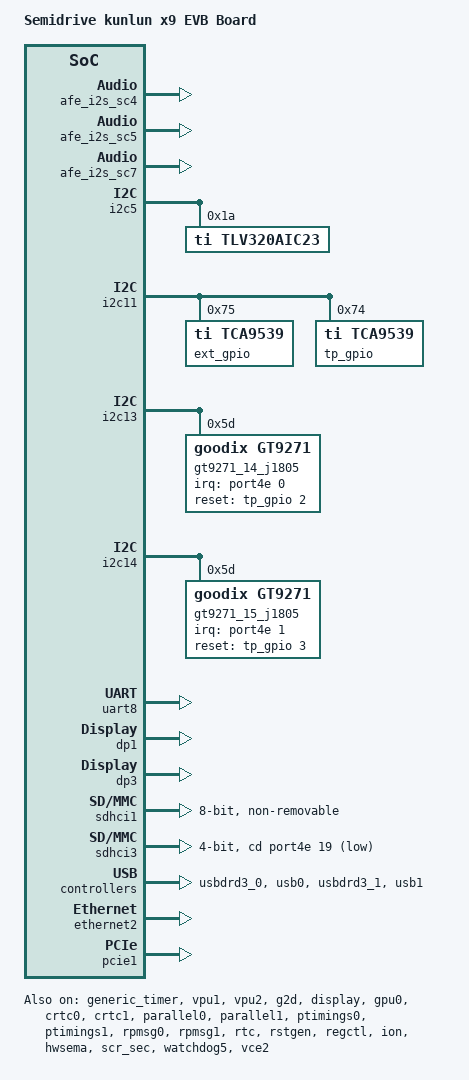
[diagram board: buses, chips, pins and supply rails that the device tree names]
/*
 * Semidrive kunlun platform DTS file
 *
 * Copyright (C) 2019, Semidrive  Communications Inc.
 *
 * This file is licensed under a dual GPLv2 or X11 license.
 */

/dts-v1/;

#include "../x9_high_ecockpit.dtsi"
#include "x9_high_evb_ivi-clk-ctrl.dtsi"
#include "../lcd-timings.dtsi"
#include <dt-bindings/pinctrl/pins-sdx9.h>
#include <dt-bindings/memmap/x9_high/projects/default/image_cfg.h>
#include <dt-bindings/memory/sdrv_ion.h>
#include <dt-bindings/rpmsg/sd,x9h-default.h>

/ {
	model = "Semidrive kunlun x9 EVB Board";

	compatible = "semidrive,kunlun";

	aliases {
		serial0 = &uart8;
		ethernet2 = &ethernet2;
	};

	memory@50000000 {
		device_type = "memory";
		reg = <HIGH32(AP1_KERNEL_MEMBASE-0x80000) LOW32(AP1_KERNEL_MEMBASE-0x80000) HIGH32(AP1_KERNEL_MEMSIZE) LOW32(AP1_KERNEL_MEMSIZE) >;
	};

	reserved-memory {
		#address-cells = <2>;
		#size-cells = <2>;
		ranges;

		/* Default Common CMA Pool */
		/* QUIRK: Must be kept in the lower 4096 MiBs of DRAM banks for VE */
		linux,cma {
			compatible = "shared-dma-pool";
			reusable;
			size = <0x0 0x40000000>; /* 1024MB */
			/* 4GB maximum in case of 32-bit only capable devices */
			alloc-ranges = <0x0 0x0 0x0 0xffffffff>;
			linux,cma-default;
		};

		rproc_0_safety: rproc@0 {
			compatible = "shared-dma-pool";
			no-map;
			reg = <0x0 RPMSG0_MEM_POOL_BASE 0x0 RPMSG0_MEM_POOL_SIZE>;
		};

		rproc_1_secure: rproc@1 {
			compatible = "shared-dma-pool";
			no-map;
			reg = <0x0 RPMSG1_MEM_POOL_BASE 0x0 RPMSG1_MEM_POOL_SIZE>;
		};

		memdisk_reserved: memdisk@80000000 {
			reg = <0x0 0x80000000 0x0 0x80000000>;
			no-map;
			status = "disabled";
		};

	};

	chosen {
		bootargs = "root=/dev/ram0 rootfstype=ramfs highres=1 earlycon loglevel=4 console=ttyS0,115200n8 androidboot.mode=normal androidboot.selinux=permissive androidboot.debuggable=0 androidboot.dm_verity=disable androidboot.vdsp=disable init=/init";
		stdout-path = "serial0";
		linux,initrd-start = <AP1_BOARD_RAMDISK_MEMBASE>;
		linux,initrd-end   = <AP1_BOARD_RAMDISK_MEMSIZE>;
	};
	sound_tlv320aic23: sound@tlv320aic23 {
		compatible = "semidrive,x9-tlv320aic23";
		semidrive,hp-spk-amp-warmup-time-us = <1>;
		semidrive,hp-spk-amp-shutdown-time-us = <800>;
		semidrive,audio-codec = <&tlv320aic23>;
		//jack-gpio = <&ext_gpio 4 GPIO_ACTIVE_HIGH>;
		//pinctrl-names = "default", "extamp_on", "extamp_off";
		//pinctrl-0 = <&aud_pins_default>;
		//pinctrl-1 = <&aud_pins_extamp_on>;
		//pinctrl-2 = <&aud_pins_extamp_off>;
		status = "okay";
	};

	memdisk: memdisk@0 {
		#address-cells = <2>;
		#size-cells = <2>;
		compatible = "semidrive,memdisk";
		memory-region = <&memdisk_reserved>;
		status = "disabled";
	};

};

&dmac4 {
	status = "okay";
};

&dmac5 {
	status = "okay";
};

&dmac6 {
	status = "okay";
};

&afe_i2s_sc4 {
	status = "okay";
};

&afe_i2s_sc5{
	dmas = <&dmac4 X9_DMA_SLV_ID_I2S_SC6_TX>, <&dmac4 X9_DMA_SLV_ID_I2S_SC6_RX>;
	dma-names = "tx", "rx";
	status = "okay";
};

&afe_i2s_sc7{
	dmas = <&dmac4 X9_DMA_SLV_ID_I2S_SC8_TX>, <&dmac4 X9_DMA_SLV_ID_I2S_SC8_RX>;
	dma-names = "tx", "rx";
	status = "okay";
};




&i2c5 {
        status = "okay";
	tlv320aic23: codec@1a {
		compatible = "ti,tlv320aic23";
		reg = <0x1a>;
	};
	/*
	tlv320aic23: codec@1b {
		compatible = "ti,tlv320aic23";
		reg = <0x1b>;
	}; */
};



&i2c10 {
        status = "disabled";
	gt9271_11_j2003:gt9271_11_j2003@5d {
		//pinctrl-names = "default";
		//pinctrl-0 = <&pinctrl_gpiotouch_mipi>;
		compatible = "goodix,gt9271";
		irq-gpios = <&port4d 8 0>;	/*io56*/
		reset-gpios = <&tp_gpio 1 0>;	/*index 1*/
		reg = <0x5d>;
	};
};

&i2c11 {
        status = "okay";
	ext_gpio: gpio@75 {
		compatible = "ti,tca9539";
		reg = <0x75>;
		#gpio-cells = <2>;
		gpio-controller;
	};
	tp_gpio: gpio@74 {
		compatible = "ti,tca9539";
		reg = <0x74>;
		#gpio-cells = <2>;
		gpio-controller;
	};
};

&i2c13 {
        status = "okay";
	gt9271_14_j1805:gt9271_14_j1805@5d {
                //pinctrl-names = "default";
                //pinctrl-0 = <&pinctrl_gpiotouch_lvds>;
                compatible = "goodix,gt9271";
		irq-gpios = <&port4e 0 0>;	/*io80*/
                reset-gpios = <&tp_gpio 2 0>;	/*index 2*/
		reg = <0x5d>;
		dev_type = <0>;	/* 0: main device, 1: aux device */
        };

};

&i2c14 {
	status = "okay";
	gt9271_15_j1805:gt9271_15_j1805@5d {
		//pinctrl-names = "default";
		//pinctrl-0 = <&pinctrl_gpiotouch_lvds>;
		compatible = "goodix,gt9271";
		irq-gpios = <&port4e 1 0>;	/*io81*/
		reset-gpios = <&tp_gpio 3 0>;		/*index 3*/
		reg = <0x5d>;
		dev_type = <1>;	/* 0: main device, 1: aux device */
	};
};

&i2c15 {
	status = "disabled";
	gt9271_16_j2003:gt9271_16_j2003@5d {
		//pinctrl-names = "default";
		//pinctrl-0 = <&pinctrl_gpiotouch_mipi>;
		compatible = "goodix,gt9271";
		irq-gpios = <&port4d 9 0>;	/*io57*/
		reset-gpios = <&tp_gpio 8 0>;	/*index 8*/
		reg = <0x5d>;
	};
};

&spi4 {
	status = "disabled";
};

&spi5 {
	status = "disabled";
};

&spi6 {
	status = "disabled";
};

&spi7 {
	status = "disabled";
};

&uart8 {
	dmas = <&dmac4 X9_DMA_SLV_ID_UART9_TX>, <&dmac4 X9_DMA_SLV_ID_UART9_RX>;
	dma-names = "tx", "rx";
	status = "okay";
};

&generic_timer {
	status = "okay";
};

&vpu1 {
	resets = <&rstgen RSTGEN_MODULE_VPU1>;
	reset-names = "vpu-reset";
	status = "okay";
};

&vpu2 {
	resets = <&rstgen RSTGEN_MODULE_VPU2>;
	reset-names = "vpu-reset";
	status = "okay";
};

&g2d {
	status = "okay";
};

&display {
	sdriv,crtc = <&crtc0 &crtc1>;
	status = "okay";
};

&gpu0 {
	status = "okay";
};

&dp1 {
	status = "okay";
};

&dp3 {
	status = "okay";
};

&crtc0 {
	dpc-master = <&dp1>;
	status = "okay";
};

&crtc1 {
	dpc-master = <&dp3>;
	status = "okay";
};

&parallel0 {
	status = "okay";
};

&parallel1 {
	status = "okay";
};

&dtimings0 {
	native-mode = <&hd1280x800>;
};

&dtimings1 {
	native-mode = <&hd1280x800_1>;
};

&ptimings0 {
	status = "okay";
};

&ptimings1 {
	status = "okay";
};

&pinctrl {
	reg = <0x0 0x37000000 0x0 0x10000>;
	pinctrl-names = "default";

	sdx9-evk {
		pinctrl_mshc1: mshc1grp {
		kunlun,pins = <
			X9_PINCTRL_EMMC1_CLK__MSHC1_CLK_1	X9_PINCTRL_OPEN_DRAIN_DISABLE
			X9_PINCTRL_EMMC1_CMD__MSHC1_CMD_1	X9_PINCTRL_OPEN_DRAIN_DISABLE
			X9_PINCTRL_EMMC1_DATA0__MSHC1_DATA_0_1	X9_PINCTRL_OPEN_DRAIN_DISABLE
			X9_PINCTRL_EMMC1_DATA1__MSHC1_DATA_1_1	X9_PINCTRL_OPEN_DRAIN_DISABLE
			X9_PINCTRL_EMMC1_DATA2__MSHC1_DATA_2_1	X9_PINCTRL_OPEN_DRAIN_DISABLE
			X9_PINCTRL_EMMC1_DATA3__MSHC1_DATA_3_1	X9_PINCTRL_OPEN_DRAIN_DISABLE
			X9_PINCTRL_EMMC1_DATA4__MSHC1_DATA_4_1	X9_PINCTRL_OPEN_DRAIN_DISABLE
			X9_PINCTRL_EMMC1_DATA5__MSHC1_DATA_5_1	X9_PINCTRL_OPEN_DRAIN_DISABLE
			X9_PINCTRL_EMMC1_DATA6__MSHC1_DATA_6_1	X9_PINCTRL_OPEN_DRAIN_DISABLE
			X9_PINCTRL_EMMC1_DATA7__MSHC1_DATA_7_1	X9_PINCTRL_OPEN_DRAIN_DISABLE
			X9_PINCTRL_EMMC1_STROBE__MSHC1_STB_1	X9_PINCTRL_OPEN_DRAIN_ENABLE
			X9_PINCTRL_EMMC1_RESET_N__MSHC1_RST_N_1	X9_PINCTRL_OPEN_DRAIN_DISABLE
			>;
		};

		pinctrl_gpiotouch_lvds: touchgrp_lvds {
                        kunlun,pins = <
			X9_PINCTRL_I2S_MC_SD4__GPIO_MUX2_IO80_1          0x00
			X9_PINCTRL_I2S_MC_SD5__GPIO_MUX2_IO81_1          0x00
                        X9_PINCTRL_I2S_MC_SD6__GPIO_MUX2_IO82_1          0x00
                        X9_PINCTRL_I2S_MC_SD7__GPIO_MUX2_IO83_1          0x00
                        >;
                };
		pinctrl_gpiotouch_mipi: touchgrp_mipi {
                        kunlun,pins = <
			X9_PINCTRL_I2S_SC3_SCK__GPIO_MUX2_IO56_1          0x00
			X9_PINCTRL_I2S_SC3_WS__GPIO_MUX2_IO57_1          0x00
                        >;
                };
		pinctrl_sddetect: sddetect {
			kunlun,pins = <
			X9_PINCTRL_EMMC2_DATA1__GPIO_MUX2_IO99_1	X9_PINCTRL_OPEN_DRAIN_ENABLE
			>;
		};
	};
};

&gpio4 {
	//pinctrl-names = "default";
	//pinctrl-0 = <&pinctrl_gpiotouch_lvds &pinctrl_gpiotouch_mipi>;
	status = "okay";
};

&sdhci1 {
	bus-width = <8>;
	non-removable;
	no-sdio;
	no-sd;
	card-is-emmc;
	disable-wp;
	cap-mmc-highspeed;
	keep-power-in-suspend;
	mmc-ddr-1_8v;
	mmc-hs200-1_8v;
	mmc-hs400-1_8v;
	mmc-hs400-enhanced-strobe;
	status = "okay";
};

&sdhci3 {
	#clock-cells = <1>;
	clocks = <&EMMC3>;
	clock-names = "core";
	max-frequency = <25000000>;
	//pinctrl-names = "default";
	//pinctrl-0 = <&pinctrl_sddetect>;
	cd-gpios = <&port4e 19 GPIO_ACTIVE_LOW>;
	bus-width = <4>;
	no-1-8-v;
	no-mmc;
	no-sdio;
	disable-wp;
	keep-power-in-suspend;
	status = "okay";
};

&mbox {
	status = "okay";
};

&mbox_test {
	status = "okay";
};

&rpmsg0 {
	memory-region = <&rproc_0_safety>;
	reg = <0x0 RPMSG0_MEM_HEAD_BASE 0x0 RPMSG0_MEM_HEAD_SIZE>;
	status = "okay";
};

&rpmsg1 {
	memory-region = <&rproc_1_secure>;
	reg = <0x0 RPMSG1_MEM_HEAD_BASE 0x0 RPMSG1_MEM_HEAD_SIZE>;
	status = "okay";
};

&ipcc0 {
	status = "okay";
};

&ipcc1 {
	status = "okay";
};

&smmu {
	status = "disabled";
};

&rtc {
	status = "okay";
};

&usbdrd3_0 {
	status = "okay";
};

&usb0 {
	status = "okay";
};

&usbdrd3_1 {
	status = "okay";
};

&usb1 {
	status = "okay";
};

&ethernet2 {
	status = "okay";
};

&rstgen {
	reg = <0x0 0x38467000 0x0 0x1000>,	/* vpu1 */
		<0x0 0x38468000 0x0 0x1000>,	/* vpu2 */
		<0x0 0x38490000 0x0 0x1000>,	/* gpu1 core */
		<0x0 0x38491000 0x0 0x1000>,	/* gpu1 ss */
		<0x0 0x38461000 0x0 0x1000>,	/* GIC4 */
		<0x0 0x38455000 0x0 0x1000>,	/* cpu1 core0 warm */
		<0x0 0x38456000 0x0 0x1000>,	/* cpu1 core1 warm */
		<0x0 0x38457000 0x0 0x1000>,	/* cpu1 core2 warm */
		<0x0 0x38458000 0x0 0x1000>,	/* cpu1 core3 warm */
		<0x0 0x38459000 0x0 0x1000>,	/* cpu1 core4 warm */
		<0x0 0x3845a000 0x0 0x1000>,	/* cpu1 core5 warm */
		<0x0 0x3845b000 0x0 0x1000>,	/* cpu1 scu warm */
		<0x0 0x3846d000 0x0 0x1000>,	/* cpu1 ss */
		<0x0 0x38407000 0x0 0x2000>;	/* cpu1 all core */
	rstgen_resource = <
		RSTGEN_MODULE_VPU1
		RSTGEN_MODULE_VPU2
		RSTGEN_MODULE_GPU1_CORE
		RSTGEN_MODULE_GPU1_SS
		RSTGEN_MODULE_GIC4
		RSTGEN_MODULE_CPU1_CORE0_WARM
		RSTGEN_MODULE_CPU1_CORE1_WARM
		RSTGEN_MODULE_CPU1_CORE2_WARM
		RSTGEN_MODULE_CPU1_CORE3_WARM
		RSTGEN_MODULE_CPU1_CORE4_WARM
		RSTGEN_MODULE_CPU1_CORE5_WARM
		RSTGEN_MODULE_CPU1_SCU_WARM
		RSTGEN_MODULE_CPU1_SS
		RSTGEN_CORE_CPU1_ALL
		>;
	status = "okay";
};

&regctl {
	reg = <0x0 0x38415000 0x0 0x1000>,
		<0x0 0x38418000 0x0 0x1000>,
		<0x0 0x3841a000 0x0 0x1000>;
	reg-names = "SDRV_REG_REMAP",
			"SDRV_REG_BOOTREASON",
			"SDRV_REG_STATUS";
	status = "okay";
};

&ion {
	status = "okay";
};

&hwsema {
        status = "okay";
};

&scr_sec {
        status = "okay";
};

&pcie1 {
       status = "okay";
};

&watchdog5 {
	wdt,auto-run = "false";
	status = "okay";
};

&vce2 {
   /*
 	* op-mode options:
 	* bit 0: rng enable(1) or disable(0)
 	* bit 1: ce enable(1) or disable(0)
 	*/
 	op-mode = <3>;
	status = "okay";
};
